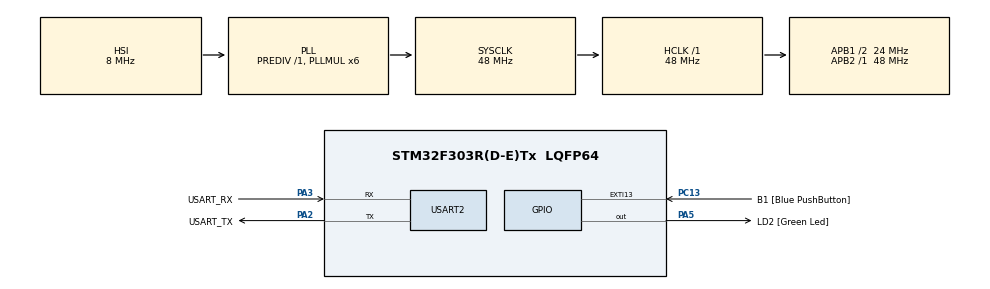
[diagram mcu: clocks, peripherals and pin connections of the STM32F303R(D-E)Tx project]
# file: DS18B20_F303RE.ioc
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Mcu.Family=STM32F3
Mcu.Name=STM32F303R(D-E)Tx
Mcu.Package=LQFP64
NVIC.PriorityGroup=NVIC_PRIORITYGROUP_0
PA13.GPIO_Label=TMS
PA13.Mode=Serial_Wire
PA13.Signal=SYS_JTMS-SWDIO
PA14.GPIO_Label=TCK
PA14.Mode=Serial_Wire
PA14.Signal=SYS_JTCK-SWCLK
PA2.GPIO_Label=USART_TX
PA2.GPIO_Mode=GPIO_MODE_AF_PP
PA2.GPIO_PuPd=GPIO_NOPULL
PA2.GPIO_Speed=GPIO_SPEED_FREQ_LOW
PA2.Mode=Asynchronous
PA2.Signal=USART2_TX
PA3.GPIO_Label=USART_RX
PA3.GPIO_Mode=GPIO_MODE_AF_PP
PA3.GPIO_PuPd=GPIO_NOPULL
PA3.GPIO_Speed=GPIO_SPEED_FREQ_LOW
PA3.Mode=Asynchronous
PA3.Signal=USART2_RX
PA5.GPIO_Label=LD2 [Green Led]
PA5.GPIO_Mode=GPIO_MODE_OUTPUT_PP
PA5.GPIO_PuPd=GPIO_NOPULL
PA5.GPIO_Speed=GPIO_SPEED_FREQ_LOW
PA5.Signal=GPIO_Output
PB3.GPIO_Label=SWO
PB3.Signal=SYS_JTDO-TRACESWO
PC13.GPIO_Label=B1 [Blue PushButton]
PC13.GPIO_ModeDefaultEXTI=GPIO_MODE_IT_FALLING
PC13.Signal=GPXTI13
PC14-OSC32_IN.Mode=LSE-External-Oscillator
PC14-OSC32_IN.Signal=RCC_OSC32_IN
PC15-OSC32_OUT.Mode=LSE-External-Oscillator
PC15-OSC32_OUT.Signal=RCC_OSC32_OUT
PF0-OSC_IN.Mode=HSE-External-Oscillator
PF0-OSC_IN.Signal=RCC_OSC_IN
PF1-OSC_OUT.Mode=HSE-External-Oscillator
PF1-OSC_OUT.Signal=RCC_OSC_OUT
ProjectManager.HeapSize=0x200
ProjectManager.StackSize=0x400
ProjectManager.TargetToolchain=STM32CubeIDE
RCC.AHBFreq_Value=48000000
RCC.APB1CLKDivider=RCC_HCLK_DIV2
RCC.APB1Freq_Value=24000000
RCC.APB1TimFreq_Value=48000000
RCC.APB2Freq_Value=48000000
RCC.APB2TimFreq_Value=48000000
RCC.CortexFreq_Value=48000000
RCC.HCLKFreq_Value=48000000
RCC.HSE_VALUE=8000000
RCC.HSI_VALUE=8000000
RCC.PLLM=8
RCC.PLLMUL=RCC_PLL_MUL6
RCC.PLLN=336
RCC.PLLP=RCC_PLLP_DIV4
RCC.PLLQ=7
RCC.RCC_PLLsource_Clock_Source_FROM_HSE=RCC_HSE_PREDIV_DIV2
RCC.SYSCLKFreq_VALUE=48000000
RCC.SYSCLKSourceVirtual=RCC_SYSCLKSOURCE_PLLCLK
RCC.USBFreq_Value=48000000
TIM6.Period=0xFFFF
TIM6.Prescaler=48-1
USART2.VirtualMode-Asynchronous=VM_ASYNC
VP_TIM6_VS_ClockSourceINT.Mode=Enable_Timer
board=NUCLEO-F303RE

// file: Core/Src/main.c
/* USER CODE BEGIN Header */
/**
  ******************************************************************************
  * @file           : main.c
  * @brief          : Main program body
  ******************************************************************************
  * @attention
  *
  * <h2><center>&copy; Copyright (c) 2020 STMicroelectronics.
  * All rights reserved.</center></h2>
  *
  * This software component is licensed by ST under BSD 3-Clause license,
  * the "License"; You may not use this file except in compliance with the
  * License. You may obtain a copy of the License at:
  *                        opensource.org/licenses/BSD-3-Clause
  *
  ******************************************************************************
  */
/* USER CODE END Header */
#include "main.h"

/* USER CODE BEGIN Includes */

#include "stdio.h"

/* USER CODE END Includes */

 TIM_HandleTypeDef htim6;

UART_HandleTypeDef huart2;

void SystemClock_Config(void);
static void MX_GPIO_Init(void);
static void MX_USART2_UART_Init(void);
static void MX_TIM6_Init(void);

/* USER CODE BEGIN 0 */

void delay (uint16_t time)
{
	/* change your code here for the delay in microseconds */
	__HAL_TIM_SET_COUNTER(&htim6, 0);
	while ((__HAL_TIM_GET_COUNTER(&htim6))<time);
}

uint8_t Rh_byte1, Rh_byte2, Temp_byte1, Temp_byte2;
uint16_t SUM, RH, TEMP;
int state;
float Temperature = 0;
float Humidity = 0;
uint8_t Presence = 0;

void Set_Pin_Output (GPIO_TypeDef *GPIOx, uint16_t GPIO_Pin)
{
	GPIO_InitTypeDef GPIO_InitStruct = {0};
	GPIO_InitStruct.Pin = GPIO_Pin;
	GPIO_InitStruct.Mode = GPIO_MODE_OUTPUT_PP;
	GPIO_InitStruct.Speed = GPIO_SPEED_FREQ_LOW;
	HAL_GPIO_Init(GPIOx, &GPIO_InitStruct);
}

void Set_Pin_Input (GPIO_TypeDef *GPIOx, uint16_t GPIO_Pin)
{
	GPIO_InitTypeDef GPIO_InitStruct = {0};
	GPIO_InitStruct.Pin = GPIO_Pin;
	GPIO_InitStruct.Mode = GPIO_MODE_INPUT;
	GPIO_InitStruct.Pull = GPIO_PULLUP;
	HAL_GPIO_Init(GPIOx, &GPIO_InitStruct);
}

/*********************************** DS18B20 FUNCTIONS ****************************************/

#define DS18B20_PORT GPIOB
#define DS18B20_PIN GPIO_PIN_1

uint8_t DS18B20_Start (void)
{
	uint8_t Response = 0;
	Set_Pin_Output(DS18B20_PORT, DS18B20_PIN);   // set the pin as output
	HAL_GPIO_WritePin (DS18B20_PORT, DS18B20_PIN, 0);  // pull the pin low
	delay (480);   // delay according to datasheet

	Set_Pin_Input(DS18B20_PORT, DS18B20_PIN);    // set the pin as input
	delay (80);    // delay according to datasheet

	if (!(HAL_GPIO_ReadPin (DS18B20_PORT, DS18B20_PIN))) Response = 1;    // if the pin is low i.e the presence pulse is detected
	else Response = -1;

	delay (400); // 480 us delay totally.

	return Response;
}

void DS18B20_Write (uint8_t data)
{
	Set_Pin_Output(DS18B20_PORT, DS18B20_PIN);  // set as output

	for (int i=0; i<8; i++)
	{

		if ((data & (1<<i))!=0)  // if the bit is high
		{
			// write 1

			Set_Pin_Output(DS18B20_PORT, DS18B20_PIN);  // set as output
			HAL_GPIO_WritePin (DS18B20_PORT, DS18B20_PIN, 0);  // pull the pin LOW
			delay (1);  // wait for 1 us

			Set_Pin_Input(DS18B20_PORT, DS18B20_PIN);  // set as input
			delay (50);  // wait for 60 us
		}

		else  // if the bit is low
		{
			// write 0

			Set_Pin_Output(DS18B20_PORT, DS18B20_PIN);
			HAL_GPIO_WritePin (DS18B20_PORT, DS18B20_PIN, 0);  // pull the pin LOW
			delay (50);  // wait for 60 us

			Set_Pin_Input(DS18B20_PORT, DS18B20_PIN);
		}
	}
}

uint8_t DS18B20_Read (void)
{
	uint8_t value=0;

	Set_Pin_Input(DS18B20_PORT, DS18B20_PIN);

	for (int i=0;i<8;i++)
	{
		Set_Pin_Output(DS18B20_PORT, DS18B20_PIN);   // set as output

		HAL_GPIO_WritePin (DS18B20_PORT, DS18B20_PIN, 0);  // pull the data pin LOW
		delay (1);  // wait for > 1us
		state = HAL_GPIO_ReadPin (DS18B20_PORT, DS18B20_PIN);
		Set_Pin_Input(DS18B20_PORT, DS18B20_PIN);  // set as input
		if (HAL_GPIO_ReadPin (DS18B20_PORT, DS18B20_PIN))  // if the pin is HIGH
		{
			value |= 1<<i;  // read = 1
		}
		delay (50);  // wait for 60 us
	}
	return value;
}

/* USER CODE END 0 */

int main(void)
{

  /* MCU Configuration--------------------------------------------------------*/

  /* Reset of all peripherals, Initializes the Flash interface and the Systick. */
  HAL_Init();

  /* Configure the system clock */
  SystemClock_Config();

  /* Initialize all configured peripherals */
  MX_GPIO_Init();
  MX_USART2_UART_Init();
  MX_TIM6_Init();
  /* USER CODE BEGIN 2 */

  HAL_TIM_Base_Start(&htim6);

//  lcd_init();
//  lcd_send_string("INITIALISING>>>>");
//  HAL_Delay(2000);
//  lcd_clear ();

  /* USER CODE END 2 */

  /* Infinite loop */
  while (1)
  {

    /* USER CODE BEGIN 3 */

	  /********************* DS18B20 *******************/

	  Presence = DS18B20_Start ();
	  HAL_Delay (1);
	  DS18B20_Write (0xCC);  // skip ROM
	  DS18B20_Write (0x44);  // convert t
	  HAL_Delay (800);

	  Presence = DS18B20_Start ();
      HAL_Delay(1);
      DS18B20_Write (0xCC);  // skip ROM
      DS18B20_Write (0xBE);  // Read Scratch-pad

      Temp_byte1 = DS18B20_Read();
	  Temp_byte2 = DS18B20_Read();
	  TEMP = (Temp_byte2<<8)|Temp_byte1;
	  Temperature = (float)TEMP/16;

	  HAL_Delay(1000);

  }
  /* USER CODE END 3 */
}

void SystemClock_Config(void)
{
  RCC_OscInitTypeDef RCC_OscInitStruct = {0};
  RCC_ClkInitTypeDef RCC_ClkInitStruct = {0};
  RCC_PeriphCLKInitTypeDef PeriphClkInit = {0};

  /** Initializes the RCC Oscillators according to the specified parameters
  * in the RCC_OscInitTypeDef structure.
  */
  RCC_OscInitStruct.OscillatorType = RCC_OSCILLATORTYPE_HSI;
  RCC_OscInitStruct.HSIState = RCC_HSI_ON;
  RCC_OscInitStruct.HSICalibrationValue = RCC_HSICALIBRATION_DEFAULT;
  RCC_OscInitStruct.PLL.PLLState = RCC_PLL_ON;
  RCC_OscInitStruct.PLL.PLLSource = RCC_PLLSOURCE_HSI;
  RCC_OscInitStruct.PLL.PLLMUL = RCC_PLL_MUL6;
  RCC_OscInitStruct.PLL.PREDIV = RCC_PREDIV_DIV1;
  if (HAL_RCC_OscConfig(&RCC_OscInitStruct) != HAL_OK)
  {
    Error_Handler();
  }

  /** Initializes the CPU, AHB and APB buses clocks
  */
  RCC_ClkInitStruct.ClockType = RCC_CLOCKTYPE_HCLK|RCC_CLOCKTYPE_SYSCLK
                              |RCC_CLOCKTYPE_PCLK1|RCC_CLOCKTYPE_PCLK2;
  RCC_ClkInitStruct.SYSCLKSource = RCC_SYSCLKSOURCE_PLLCLK;
  RCC_ClkInitStruct.AHBCLKDivider = RCC_SYSCLK_DIV1;
  RCC_ClkInitStruct.APB1CLKDivider = RCC_HCLK_DIV2;
  RCC_ClkInitStruct.APB2CLKDivider = RCC_HCLK_DIV1;

  if (HAL_RCC_ClockConfig(&RCC_ClkInitStruct, FLASH_LATENCY_1) != HAL_OK)
  {
    Error_Handler();
  }
  PeriphClkInit.PeriphClockSelection = RCC_PERIPHCLK_USART2;
  PeriphClkInit.Usart2ClockSelection = RCC_USART2CLKSOURCE_PCLK1;
  if (HAL_RCCEx_PeriphCLKConfig(&PeriphClkInit) != HAL_OK)
  {
    Error_Handler();
  }
}

static void MX_TIM6_Init(void)
{

  TIM_MasterConfigTypeDef sMasterConfig = {0};

  htim6.Instance = TIM6;
  htim6.Init.Prescaler = 48-1;
  htim6.Init.CounterMode = TIM_COUNTERMODE_UP;
  htim6.Init.Period = 0xFFFF;
  htim6.Init.AutoReloadPreload = TIM_AUTORELOAD_PRELOAD_DISABLE;
  if (HAL_TIM_Base_Init(&htim6) != HAL_OK)
  {
    Error_Handler();
  }
  sMasterConfig.MasterOutputTrigger = TIM_TRGO_RESET;
  sMasterConfig.MasterSlaveMode = TIM_MASTERSLAVEMODE_DISABLE;
  if (HAL_TIMEx_MasterConfigSynchronization(&htim6, &sMasterConfig) != HAL_OK)
  {
    Error_Handler();
  }

}

static void MX_USART2_UART_Init(void)
{

  huart2.Instance = USART2;
  huart2.Init.BaudRate = 38400;
  huart2.Init.WordLength = UART_WORDLENGTH_8B;
  huart2.Init.StopBits = UART_STOPBITS_1;
  huart2.Init.Parity = UART_PARITY_NONE;
  huart2.Init.Mode = UART_MODE_TX_RX;
  huart2.Init.HwFlowCtl = UART_HWCONTROL_NONE;
  huart2.Init.OverSampling = UART_OVERSAMPLING_16;
  huart2.Init.OneBitSampling = UART_ONE_BIT_SAMPLE_DISABLE;
  huart2.AdvancedInit.AdvFeatureInit = UART_ADVFEATURE_NO_INIT;
  if (HAL_UART_Init(&huart2) != HAL_OK)
  {
    Error_Handler();
  }

}

static void MX_GPIO_Init(void)
{
  GPIO_InitTypeDef GPIO_InitStruct = {0};

  /* GPIO Ports Clock Enable */
  __HAL_RCC_GPIOC_CLK_ENABLE();
  __HAL_RCC_GPIOF_CLK_ENABLE();
  __HAL_RCC_GPIOA_CLK_ENABLE();
  __HAL_RCC_GPIOB_CLK_ENABLE();

  /*Configure GPIO pin Output Level */
  HAL_GPIO_WritePin(LD2_GPIO_Port, LD2_Pin, GPIO_PIN_RESET);

  /*Configure GPIO pin : B1_Pin */
  GPIO_InitStruct.Pin = B1_Pin;
  GPIO_InitStruct.Mode = GPIO_MODE_IT_FALLING;
  GPIO_InitStruct.Pull = GPIO_NOPULL;
  HAL_GPIO_Init(B1_GPIO_Port, &GPIO_InitStruct);

  /*Configure GPIO pin : LD2_Pin */
  GPIO_InitStruct.Pin = LD2_Pin;
  GPIO_InitStruct.Mode = GPIO_MODE_OUTPUT_PP;
  GPIO_InitStruct.Pull = GPIO_NOPULL;
  GPIO_InitStruct.Speed = GPIO_SPEED_FREQ_LOW;
  HAL_GPIO_Init(LD2_GPIO_Port, &GPIO_InitStruct);

}

void Error_Handler(void)
{
}
